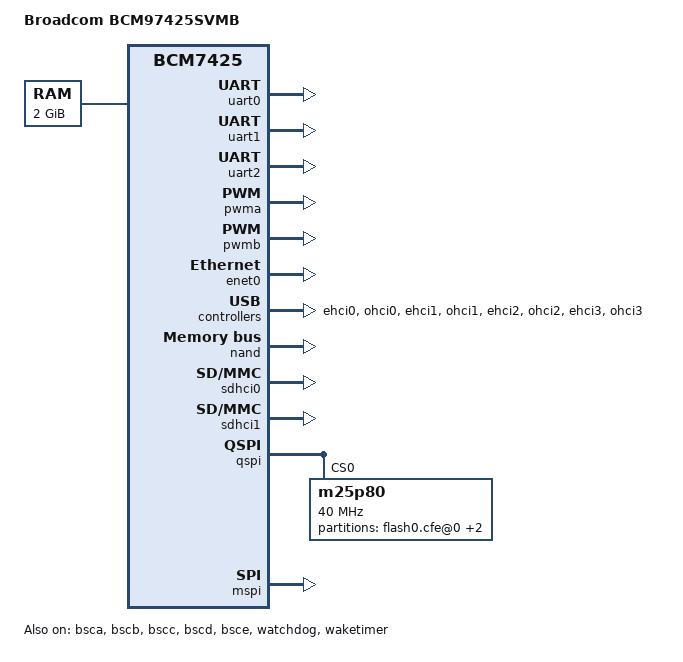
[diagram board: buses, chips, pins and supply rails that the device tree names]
// SPDX-License-Identifier: GPL-2.0
/dts-v1/;

/include/ "bcm7425.dtsi"
/include/ "bcm97xxx-nand-cs1-bch24.dtsi"

/ {
	compatible = "brcm,bcm97425svmb", "brcm,bcm7425";
	model = "Broadcom BCM97425SVMB";

	memory@0 {
		device_type = "memory";
		reg = <0x00000000 0x10000000>,
		      <0x20000000 0x30000000>,
		      <0x90000000 0x40000000>;
	};

	chosen {
		bootargs = "console=ttyS0,115200";
		stdout-path = &uart0;
	};
};

&uart0 {
	status = "okay";
};

&uart1 {
	status = "okay";
};

&uart2 {
	status = "okay";
};

&bsca {
	status = "okay";
};

&bscb {
	status = "okay";
};

&bscc {
	status = "okay";
};

&bscd {
	status = "okay";
};

&bsce {
	status = "okay";
};

&pwma {
	status = "okay";
};

&pwmb {
	status = "okay";
};

&watchdog {
	status = "okay";
};

&enet0 {
	status = "okay";
};

&ehci0 {
	status = "okay";
};

&ohci0 {
	status = "okay";
};

&ehci1 {
	status = "okay";
};

&ohci1 {
	status = "okay";
};

&ehci2 {
	status = "okay";
};

&ohci2 {
	status = "okay";
};

&ehci3 {
	status = "okay";
};

&ohci3 {
	status = "okay";
};

&nand {
	status = "okay";
};

&sdhci0 {
	status = "okay";
};

&sdhci1 {
	status = "okay";
};

&qspi {
	status = "okay";

	m25p80@0 {
		compatible = "m25p80";
		reg = <0>;
		spi-max-frequency = <40000000>;
		spi-cpol;
		spi-cpha;
		use-bspi;
		m25p,fast-read;

		partitions {
			compatible = "fixed-partitions";
			#address-cells = <1>;
			#size-cells = <1>;

			flash0.cfe@0 {
				reg = <0x0 0x200000>;
			};

			flash0.mac@200000 {
				reg = <0x200000 0x40000>;
			};

			flash0.nvram@240000 {
				reg = <0x240000 0x10000>;
			};
		};
	};
};

&mspi {
	status = "okay";
};

&waketimer {
	status = "okay";
};
